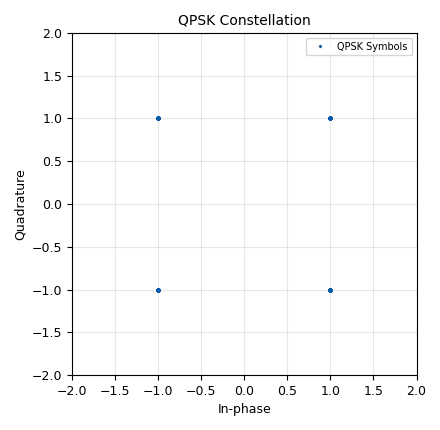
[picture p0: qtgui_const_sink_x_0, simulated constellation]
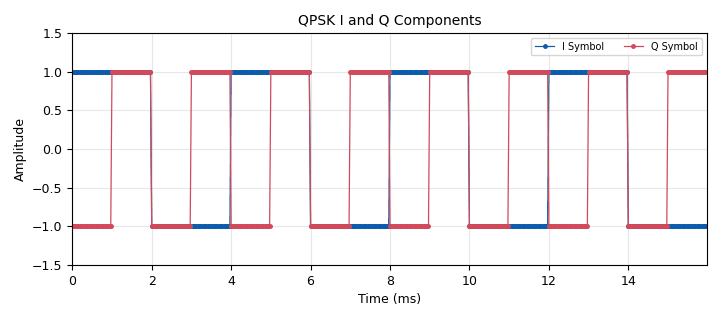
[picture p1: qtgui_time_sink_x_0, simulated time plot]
options:
  parameters:
    author: Dhrubjun
    generate_options: qt_gui
    id: exp4
    output_language: python
    title: Building QPSK from I and Q
  states: {}

blocks:
- name: samp_rate
  id: variable
  parameters:
    value: '32000'
  states: {}
- name: samples_per_symbol
  id: variable
  parameters:
    value: int(samp_rate/symbol_rate)
  states: {}
- name: symbol_rate
  id: variable
  parameters:
    value: '1000'
  states: {}
- name: blocks_float_to_complex_0
  id: blocks_float_to_complex
  parameters: {}
  states: {}
- name: blocks_repeat_0_0
  id: blocks_repeat
  parameters:
    interp: samples_per_symbol
    type: float
  states: {}
- name: blocks_repeat_0_0_0
  id: blocks_repeat
  parameters:
    interp: samples_per_symbol
    type: float
  states: {}
- name: blocks_throttle2_0
  id: blocks_throttle2
  parameters:
    samples_per_second: samp_rate
    type: byte
  states: {}
- name: blocks_throttle2_0_0
  id: blocks_throttle2
  parameters:
    samples_per_second: samp_rate
    type: byte
  states: {}
- name: blocks_vector_source_x_0
  id: blocks_vector_source_x
  parameters:
    alias: I Bit Source
    repeat: 'True'
    type: byte
    vector: (0, 0, 1, 1)
  states: {}
- name: blocks_vector_source_x_0_0
  id: blocks_vector_source_x
  parameters:
    alias: Q Bit Source
    repeat: 'True'
    type: byte
    vector: (0, 1, 0, 1)
  states: {}
- name: digital_chunks_to_symbols_xx_0
  id: digital_chunks_to_symbols_xx
  parameters:
    dimension: '1'
    in_type: byte
    out_type: float
    symbol_table: '[-1, 1]'
  states: {}
- name: digital_chunks_to_symbols_xx_0_0
  id: digital_chunks_to_symbols_xx
  parameters:
    dimension: '1'
    in_type: byte
    out_type: float
    symbol_table: '[-1, 1]'
  states: {}
- name: qtgui_const_sink_x_0
  id: qtgui_const_sink_x
  parameters:
    grid: 'True'
    label1: QPSK Symbols
    name: QPSK Constellation
    size: '512'
    type: complex
    width1: '3'
  states: {}
- name: qtgui_time_sink_x_0
  id: qtgui_time_sink_x
  parameters:
    grid: 'True'
    label1: I Symbol
    label2: Q Symbol
    marker1: '0'
    marker2: '0'
    name: QPSK I and Q Components
    nconnections: '2'
    size: '512'
    srate: samp_rate
    style1: '2'
    style2: '2'
    type: float
    width1: '3'
    ymax: '1.5'
    ymin: '-1.5'
  states: {}

connections:
- [blocks_float_to_complex_0, '0', qtgui_const_sink_x_0, '0']
- [blocks_repeat_0_0, '0', blocks_float_to_complex_0, '0']
- [blocks_repeat_0_0, '0', qtgui_time_sink_x_0, '0']
- [blocks_repeat_0_0_0, '0', blocks_float_to_complex_0, '1']
- [blocks_repeat_0_0_0, '0', qtgui_time_sink_x_0, '1']
- [blocks_throttle2_0, '0', digital_chunks_to_symbols_xx_0, '0']
- [blocks_throttle2_0_0, '0', digital_chunks_to_symbols_xx_0_0, '0']
- [blocks_vector_source_x_0, '0', blocks_throttle2_0, '0']
- [blocks_vector_source_x_0_0, '0', blocks_throttle2_0_0, '0']
- [digital_chunks_to_symbols_xx_0, '0', blocks_repeat_0_0, '0']
- [digital_chunks_to_symbols_xx_0_0, '0', blocks_repeat_0_0_0, '0']

metadata:
  file_format: 1
  grc_version: 3.10.12.0
